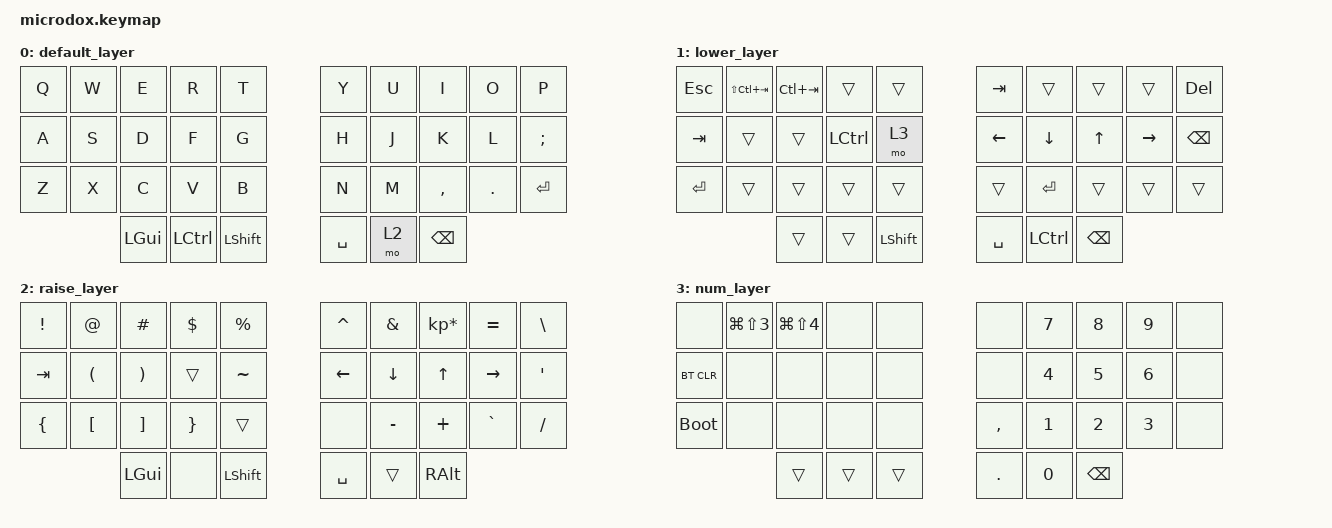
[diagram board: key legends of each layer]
/*
 * Copyright (c) 2020 The ZMK Contributors
 *
 * SPDX-License-Identifier: MIT
 */

#include <behaviors.dtsi>
#include <dt-bindings/zmk/keys.h>
#include <dt-bindings/zmk/bt.h>

/ {
    combos {
        compatible = "zmk,combos";
        combo_esc {
            timeout-ms = <50>;
            key-positions = <0 3>;
            bindings = <&kp ESC>;
        };
        combo_tab {
            timeout-ms = <50>;
            key-positions = <12 13>;
            bindings = <&kp TAB>;
        };
        combo_alt_sym {
            timeout-ms = <50>;
            key-positions = <30 35>;
            bindings = <&kp LALT>;
        };
        combo_caps {
            timeout-ms = <50>;
            key-positions = <31 34>;
            bindings = <&kp CAPS>;
        };
        combo_lwr {
            timeout-ms = <50>;
            key-positions = <30 31>;
            bindings = <&mo 1>;
        };
        combo_num {
            timeout-ms = <50>;
            key-positions = <31 32>;
            bindings = <&tog 3>;
        };
    };
};

/ {
        keymap {
                compatible = "zmk,keymap";

                default_layer {
// -----------------------------------------------------------------------------------------
// |  Q  |  W  |  E  |  R  |  T  |||||  Y  |  U  |  I  |  O  |  P  |
// |  A  |  S  |  D  |  F  |  G  |||||  H  |  J  |  K  |  L  |  ;  |
// |  Z  |  X  |  C  |  V  |  B  |||||  N  |  M  |  ,  |  .  | RET |
//             | GUI | CTRL| SHFT||||| SPC | SYM | BSP |
                        bindings = <
   &kp Q &kp W &kp E &kp R &kp T   &kp Y &kp U  &kp I     &kp O   &kp P
   &kp A &kp S &kp D &kp F &kp G   &kp H &kp J  &kp K     &kp L   &kp SEMI
   &kp Z &kp X &kp C &kp V &kp B   &kp N &kp M  &kp COMMA &kp DOT &kp RET
          &kp LGUI &kp LCTRL &kp LSHFT &kp SPACE &mo 2 &kp BSPC
                        >;
                };

                lower_layer {
// -----------------------------------------------------------------------------------------
// | ESC | SCT |  CT |     |     ||||| TAB |     |     |     | DEL  |
// | TAB |     |     | CTRL| NUM |||||  ←  |  ↓  |  ↑  |  →  | BKSP |
// | RET |     |     |     |     |||||     | RET |     |     |      |
//             |     |     | SHFT||||| SPC | CTRL|     |
                        bindings = <
   &kp ESC      &kp LS(LC(TAB)) &kp LC(TAB)  &trans    &trans     &kp TAB   &trans    &trans   &trans    &kp DEL
   &kp TAB      &trans          &trans       &kp LCTRL &mo 3      &kp LEFT  &kp DOWN  &kp UP   &kp RIGHT &kp BSPC
   &kp RET      &trans          &trans       &trans    &trans     &trans    &kp RET   &trans   &trans    &trans
                                &trans       &trans    &kp LSHFT  &kp SPACE &kp LCTRL &kp BSPC
                        >;
                };

                raise_layer {
// -----------------------------------------------------------------------------------------
// |  !  |  @  |  #  |  $  |  %  |||||  ^  |  &  |  *  |  =  |  \  |
// | TAB |  (  |  )  |     |  ~  |||||  ←  |  ↓  |  ↑  |  →  |  '' |
// |  {  |  [  |  ]  |  }  |     |||||     |  -  |  +  |  `  |  /  |
//             | GUI |     | SHF ||||| SPC |     | ALT |
                        bindings = <
   &kp EXCL  &kp AT    &kp HASH  &kp DLLR  &kp PRCNT   &kp CARET &kp AMPS  &kp KP_MULTIPLY &kp EQUAL &kp BSLH
   &kp TAB   &kp LPAR  &kp RPAR  &trans    &kp TILDE   &kp LEFT  &kp DOWN  &kp UP          &kp RIGHT &kp SQT
   &kp LBRC  &kp LBKT  &kp RBKT  &kp RBRC  &trans      &none     &kp MINUS &kp PLUS        &kp GRAVE &kp FSLH
                       &kp LGUI  &none     &kp LSHFT   &kp SPACE &trans    &kp RALT
                        >;
                };

                num_layer {
// -----------------------------------------------------------------------------------------
// |     | SC 3| SC 4|     |     |||||     |  7  |  8  |  9  |     |
// |BTCLR|     |     |     |     |||||     |  4  |  5  |  6  |     |
// | BOOT|     |     |     |     |||||  ,  |  1  |  2  |  3  |     |
//             |     |     |     |||||  .  |  0  | BKSP|
                        bindings = <
   &none        &kp LG(LS(N3)) &kp LG(LS(N4)) &none  &none     &none     &kp N7  &kp N8 &kp N9 &none
   &bt BT_CLR   &none          &none          &none  &none     &none     &kp N4  &kp N5 &kp N6 &none
   &bootloader  &none          &none          &none  &none     &kp COMMA &kp N1  &kp N2 &kp N3 &none
                                       &trans &trans &trans    &kp DOT   &kp N0 &kp BSPC
                        >;
                };
        };
};
